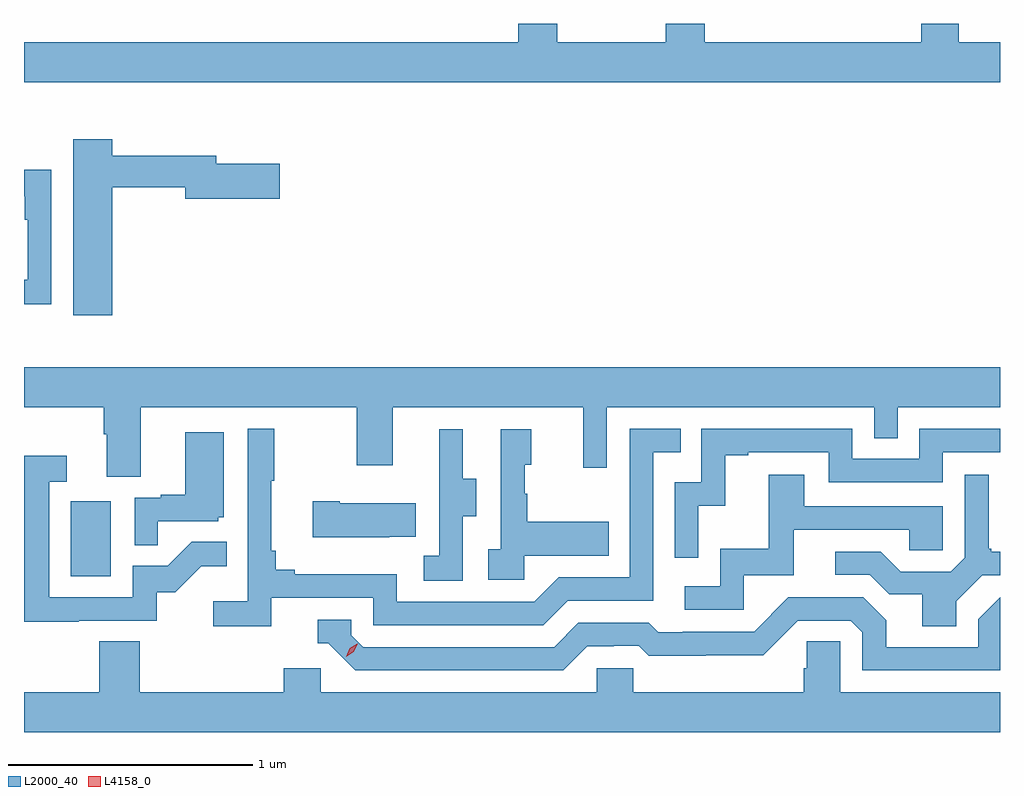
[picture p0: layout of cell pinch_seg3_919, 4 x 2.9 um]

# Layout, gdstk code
import gdstk
lib = gdstk.Library(unit=1e-6, precision=1e-09)
def R(c, l, rs):  # rectangles x0, y0, x1, y1
    for r in rs: c.add(gdstk.rectangle(r[:2], r[2:], *l))
def P(c, l, *ps):  # polygons
    for p in ps: c.add(gdstk.Polygon(p, *l))
L2000_40 = (2000, 40)
L4158_0 = (4158, 0)

pinch_seg3_919 = lib.new_cell('pinch_seg3_919')
R(pinch_seg3_919, L2000_40, [(886.82,669.588,886.984,669.895)])
P(pinch_seg3_919, L2000_40, [(890.628,671.776),(890.458,671.776),(890.458,671.851),(890.306,671.851),(890.306,671.776),(889.418,671.776),(889.418,671.851),(889.258,671.851),(889.258,671.776),(888.813,671.776),(888.813,671.851),(888.653,671.851),(888.653,671.776),(886.628,671.776),(886.628,671.612),(890.628,671.612)],
  [(886.99,671.182),(887.288,671.182),(887.288,671.135),(887.677,671.135),(887.677,671.277),(887.416,671.277),(887.416,671.311),(886.99,671.311),(886.99,671.377),(886.829,671.377),(886.829,670.656),(886.99,670.656)],
  [(886.74,671.254),(886.628,671.254),(886.628,671.144),(886.631,671.144),(886.631,671.048),(886.644,671.048),(886.644,670.803),(886.628,670.803),(886.628,670.702),(886.74,670.702)],
  [(887.107,670.28),(887.992,670.28),(887.992,670.041),(888.139,670.041),(888.139,670.28),(888.92,670.28),(888.92,670.032),(889.017,670.032),(889.017,670.28),(890.112,670.28),(890.112,670.153),(890.208,670.153),(890.208,670.28),(890.628,670.28),(890.628,670.444),(886.628,670.444),(886.628,670.28),(886.955,670.28),(886.955,670.168),(886.967,670.168),(886.967,669.994),(887.107,669.994)],
  [(887.642,669.498),(888.06,669.498),(888.06,669.387),(888.757,669.387),(888.856,669.486),(889.206,669.486),(889.206,670.095),(889.319,670.095),(889.319,670.191),(889.11,670.191),(889.11,669.582),(888.819,669.582),(888.72,669.483),(888.156,669.483),(888.156,669.595),(887.737,669.595),(887.737,669.614),(887.66,669.614),(887.66,669.691),(887.641,669.691),(887.641,669.979),(887.653,669.979),(887.653,670.192),(887.544,670.192),(887.544,669.484),(887.403,669.484),(887.403,669.382),(887.642,669.382)],
  [(889.392,669.875),(889.502,669.875),(889.502,670.083),(889.597,670.083),(889.597,670.095),(889.926,670.095),(889.926,669.972),(890.394,669.972),(890.394,670.095),(890.628,670.095),(890.628,670.191),(890.298,670.191),(890.298,670.068),(890.022,670.068),(890.022,670.191),(889.404,670.191),(889.404,669.972),(889.296,669.972),(889.296,669.663),(889.392,669.663)],
  [(888.678,669.671),(889.025,669.671),(889.025,669.811),(888.691,669.811),(888.691,669.926),(888.681,669.926),(888.681,670.044),(888.706,670.044),(888.706,670.189),(888.582,670.189),(888.582,669.698),(888.531,669.698),(888.531,669.573),(888.678,669.573)],
  [(888.426,669.832),(888.481,669.832),(888.481,669.987),(888.427,669.987),(888.427,670.189),(888.329,670.189),(888.329,669.975),(888.33,669.975),(888.33,669.671),(888.267,669.671),(888.267,669.568),(888.426,669.568)],
  [(887.177,669.813),(887.424,669.813),(887.424,669.828),(887.446,669.828),(887.446,670.177),(887.288,670.177),(887.288,669.922),(887.189,669.922),(887.189,669.909),(887.082,669.909),(887.082,669.715),(887.177,669.715)],
  [(886.853,669.405),(887.172,669.405),(887.172,669.522),(887.248,669.522),(887.355,669.629),(887.459,669.629),(887.459,669.728),(887.315,669.728),(887.217,669.63),(887.073,669.63),(887.073,669.501),(886.731,669.501),(886.731,669.975),(886.804,669.975),(886.804,670.081),(886.628,670.081),(886.628,669.4),(886.853,669.4)],
  [(890.449,669.484),(890.556,669.591),(890.628,669.591),(890.628,669.688),(890.593,669.688),(890.593,669.7),(890.581,669.7),(890.581,670.003),(890.484,670.003),(890.484,669.663),(890.427,669.606),(890.221,669.606),(890.14,669.687),(889.953,669.687),(889.953,669.594),(890.094,669.594),(890.174,669.514),(890.309,669.514),(890.309,669.382),(890.449,669.382)],
  [(889.578,669.591),(889.783,669.591),(889.783,669.777),(890.257,669.777),(890.257,669.693),(890.394,669.693),(890.394,669.873),(889.825,669.873),(889.825,670.003),(889.681,670.003),(889.681,669.7),(889.482,669.7),(889.482,669.546),(889.335,669.546),(889.335,669.45),(889.578,669.45)],
  [(888.125,669.749),(888.233,669.749),(888.233,669.886),(887.923,669.886),(887.923,669.894),(887.811,669.894),(887.811,669.746),(888.125,669.746)],
  [(888.937,669.3),(889.044,669.3),(889.044,669.303),(889.147,669.303),(889.189,669.261),(889.422,669.261),(889.422,669.263),(889.658,669.263),(889.8,669.405),(890.016,669.405),(890.064,669.357),(890.064,669.201),(890.628,669.201),(890.628,669.501),(890.538,669.411),(890.538,669.297),(890.161,669.297),(890.161,669.407),(890.067,669.501),(889.761,669.501),(889.62,669.36),(889.327,669.36),(889.327,669.357),(889.228,669.357),(889.189,669.396),(888.9,669.396),(888.801,669.297),(888.018,669.297),(887.97,669.345),(887.97,669.408),(887.831,669.408),(887.831,669.312),(887.874,669.312),(887.985,669.201),(888.838,669.201)],
  [(890.628,669.112),(889.974,669.112),(889.974,669.32),(889.837,669.32),(889.837,669.21),(889.823,669.21),(889.823,669.112),(889.125,669.112),(889.125,669.21),(888.975,669.21),(888.975,669.112),(887.844,669.112),(887.844,669.21),(887.693,669.21),(887.693,669.112),(887.102,669.112),(887.102,669.32),(886.937,669.32),(886.937,669.112),(886.628,669.112),(886.628,668.948),(890.628,668.948)])
P(pinch_seg3_919, L4158_0, [(887.948,669.258),(887.948,669.258),(887.964,669.291),(887.994,669.31),(887.995,669.31),(887.995,669.31),(887.979,669.277),(887.948,669.258)])

lib.write_gds('pinch_seg3_919.gds')
